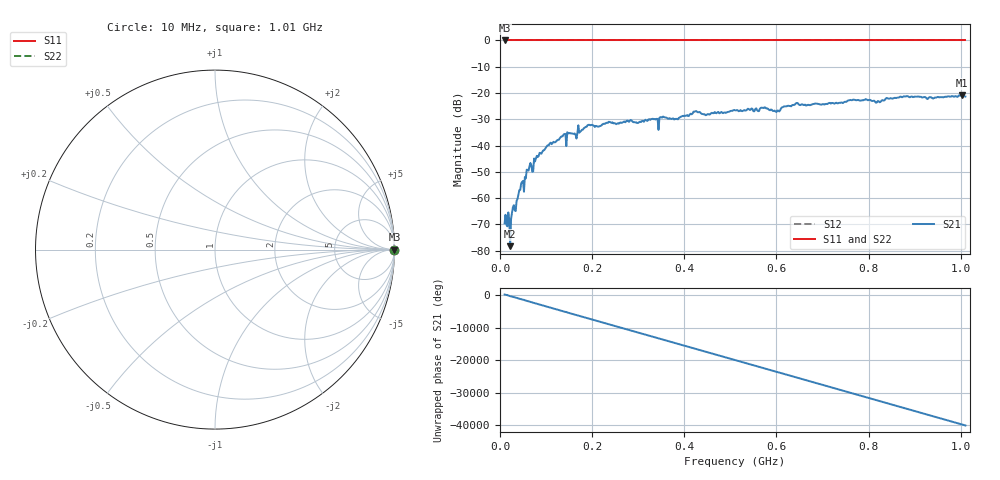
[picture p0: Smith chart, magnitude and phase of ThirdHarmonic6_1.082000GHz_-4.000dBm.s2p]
! 8/16/2025 9:56:50 AM
! C:\ANRITSUVNA\TEMP\TEMP.S2P
! CHANNEL.1
! TR.MEASUREMENT
! RAW.DATA
! RF.CORRECTION.OFF
! AVERAGING.OFF
! IF.BANDWIDTH: 5KHZ
! SWEEPTYPE:  FREQ.SWEEP(Linear)
! Reference Plane Port Info
! PORT:  PORT1  PORT2
! DISTANCE:  0  m  0  m
! TIME:  0  s  0  s
! PHASE.OFFSET:  0  deg.  0  deg.
! LOSS:  0  dB  0  dB
! REF.LOSS:  0  dB  0  dB
! REF.FREQ:  0  Hz  0  Hz
! Power Info
! POWER:  -20  dBm  -20  dBm
! EFF.POWER:  -20  dBm  -20  dBm
! SOURCE.ATTEN:  0  dB  0  dB
! TEST.ATTEN:  0  dB  0  dB
# GHZ S RI R 50.0
! FREQ.GHZ  S11RE  S11IM  S21RE  S21IM  S12RE  S12IM  S22RE  S22IM
!; PortSelection: Port_12
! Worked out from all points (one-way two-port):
!   501 points, 10 MHz to 1.01 GHz, reference 50 ohm
!   highest |S21| = -20.81 dB at 1.002 GHz (marker M1); lowest = -78.3 dB at 22 MHz (marker M2)
!   lowest |S11| = 0.0 dB at 10 MHz (marker M3)
!   |S11| at or under -10 dB: nowhere
!   |S22| runs from 0.0 to 0.0 dB; largest |S21 - S12| = 1.1
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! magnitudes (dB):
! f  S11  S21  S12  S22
! 10 MHz  0.0  -69.6  0.0  0.0
! 16 MHz  0.0  -70.8  0.0  0.0
! 18 MHz  0.0  -65.5  0.0  0.0
! 22 MHz  0.0  -78.3  0.0  0.0
! 46 MHz  0.0  -54.4  0.0  0.0
! 52 MHz  0.0  -57.6  0.0  0.0
! 62 MHz  0.0  -49.5  0.0  0.0
! 72 MHz  0.0  -49.8  0.0  0.0
! 78 MHz  0.0  -45.0  0.0  0.0
! 138 MHz  0.0  -35.8  0.0  0.0
! 178 MHz  0.0  -34.0  0.0  0.0
! 236 MHz  0.0  -31.0  0.0  0.0
! 344 MHz  0.0  -34.0  0.0  0.0
! 424 MHz  0.0  -27.0  0.0  0.0
! 450 MHz  0.0  -28.1  0.0  0.0
! 510 MHz  0.0  -26.6  0.0  0.0
! 602 MHz  0.0  -26.7  0.0  0.0
! 642 MHz  0.0  -24.0  0.0  0.0
! 678 MHz  0.0  -24.3  0.0  0.0
! 844 MHz  0.0  -22.2  0.0  0.0
! 1.002 GHz  0.0  -20.8  0.0  0.0
! 1.01 GHz  0.0  -21.4  0.0  0.0
